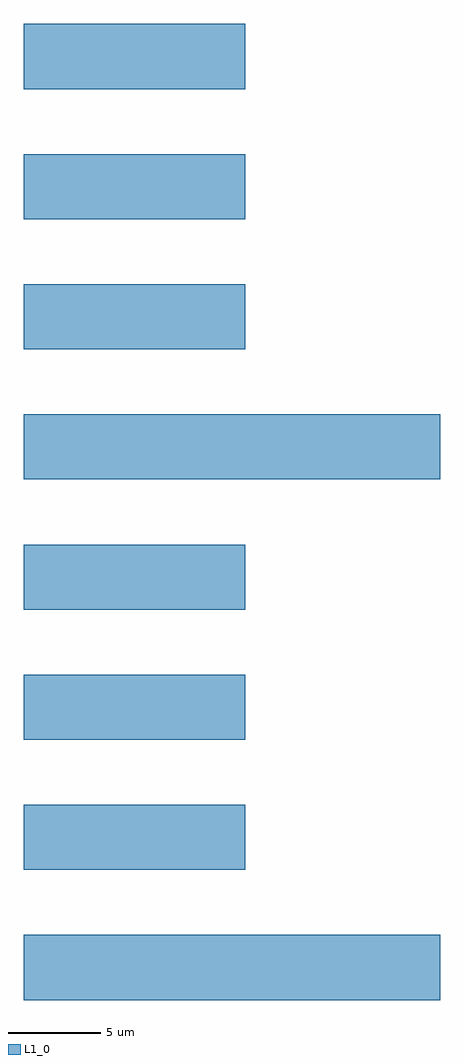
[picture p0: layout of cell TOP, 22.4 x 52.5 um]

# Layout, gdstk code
from math import pi, radians
import gdstk
lib = gdstk.Library(unit=1e-6, precision=1e-09)
def R(c, l, rs):  # rectangles x0, y0, x1, y1
    for r in rs: c.add(gdstk.rectangle(r[:2], r[2:], *l))
L1_0 = (1, 0)

c_c3 = lib.new_cell('C3')
R(c_c3, L1_0, [(0,0,10.5,3.5)])

c_c2 = lib.new_cell('C2')
R(c_c2, L1_0, [(0,243.25,3.5,255.15)])

c_c1 = lib.new_cell('C1')
r = gdstk.Reference(c_c2, (1223.25,390.25), rotation=3*pi/2, x_reflection=True); r.repetition = gdstk.Repetition(8, 1, v1=(0,-7), v2=(0,0)); c_c1.add(r)

top = lib.new_cell('TOP')
r = gdstk.Reference(c_c3, (22.4,0), rotation=pi, x_reflection=True); r.repetition = gdstk.Repetition(1, 2, v1=(0,0), v2=(0,28)); top.add(r)
top.add(gdstk.Reference(c_c1, (-968.1,-337.75)))

lib.write_gds('TOP.gds')
